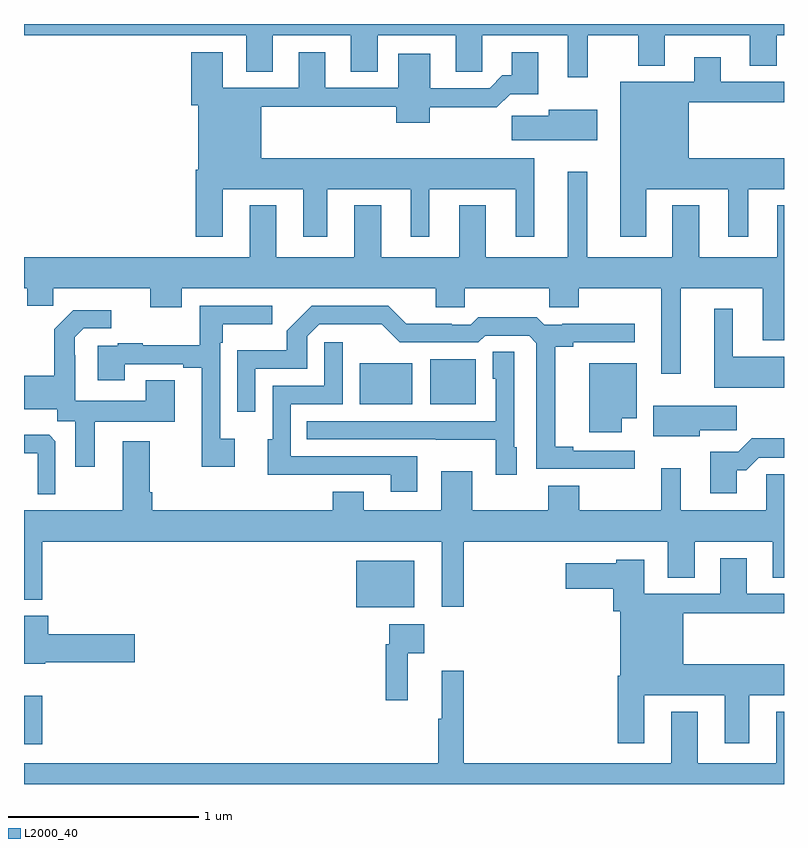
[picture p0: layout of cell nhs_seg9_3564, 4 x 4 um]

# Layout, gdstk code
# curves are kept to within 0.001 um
import gdstk
lib = gdstk.Library(unit=1e-6, precision=1e-09)
def R(c, l, rs):  # rectangles x0, y0, x1, y1
    for r in rs: c.add(gdstk.rectangle(r[:2], r[2:], *l))
def P(c, l, *ps):  # polygons
    for p in ps: c.add(gdstk.Polygon(p, *l))
L2000_40 = (2000, 40)

nhs_seg9_3564 = lib.new_cell('nhs_seg9_3564')
R(nhs_seg9_3564, L2000_40, [(315,1172.708,315.097,1172.965), (316.748,1173.431,317.053,1173.676), (316.766,1174.499,317.044,1174.714), (317.138,1174.499,317.377,1174.735)])
P(nhs_seg9_3564, L2000_40, [(317.968,1176.44),(318.233,1176.44),(318.233,1176.281),(318.373,1176.281),(318.373,1176.44),(318.821,1176.44),(318.821,1176.28),(318.961,1176.28),(318.961,1176.44),(319,1176.44),(319,1176.5),(315,1176.5),(315,1176.44),(316.169,1176.44),(316.169,1176.25),(316.309,1176.25),(316.309,1176.44),(316.721,1176.44),(316.721,1176.25),(316.861,1176.25),(316.861,1176.44),(317.273,1176.44),(317.273,1176.25),(317.412,1176.25),(317.412,1176.44),(317.861,1176.44),(317.861,1176.219),(317.968,1176.219)],
  [(316.045,1175.63),(316.469,1175.63),(316.469,1175.379),(316.597,1175.379),(316.597,1175.63),(317.036,1175.63),(317.036,1175.379),(317.134,1175.379),(317.134,1175.63),(317.588,1175.63),(317.588,1175.379),(317.686,1175.379),(317.686,1175.794),(316.249,1175.794),(316.249,1176.064),(316.958,1176.064),(316.958,1175.981),(317.136,1175.981),(317.136,1176.062),(317.489,1176.062),(317.558,1176.131),(317.707,1176.131),(317.707,1176.352),(317.567,1176.352),(317.567,1176.229),(317.518,1176.229),(317.451,1176.162),(317.137,1176.162),(317.137,1176.343),(316.97,1176.343),(316.97,1176.165),(316.585,1176.165),(316.585,1176.352),(316.445,1176.352),(316.445,1176.165),(316.045,1176.165),(316.045,1176.352),(315.881,1176.352),(315.881,1176.072),(315.917,1176.072),(315.917,1175.734),(315.905,1175.734),(315.905,1175.379),(316.045,1175.379)],
  [(318.274,1175.63),(318.707,1175.63),(318.707,1175.379),(318.811,1175.379),(318.811,1175.63),(319,1175.63),(319,1175.794),(318.499,1175.794),(318.499,1176.087),(319,1176.087),(319,1176.195),(318.667,1176.195),(318.667,1176.325),(318.527,1176.325),(318.527,1176.196),(318.137,1176.196),(318.137,1175.379),(318.274,1175.379)],
  [(318.016,1176.049),(317.762,1176.049),(317.762,1176.017),(317.568,1176.017),(317.568,1175.888),(318.016,1175.888)],
  [(316.879,1175.545),(316.739,1175.545),(316.739,1175.272),(316.327,1175.272),(316.327,1175.545),(316.187,1175.545),(316.187,1175.272),(315,1175.272),(315,1175.108),(315.017,1175.108),(315.017,1175.018),(315.155,1175.018),(315.155,1175.108),(315.665,1175.108),(315.665,1175.009),(315.829,1175.009),(315.829,1175.108),(317.168,1175.108),(317.168,1175.01),(317.319,1175.01),(317.319,1175.108),(317.764,1175.108),(317.764,1175.01),(317.919,1175.01),(317.919,1175.108),(318.353,1175.108),(318.353,1174.659),(318.457,1174.659),(318.457,1175.108),(318.887,1175.108),(318.887,1174.835),(319,1174.835),(319,1175.545),(318.965,1175.545),(318.965,1175.272),(318.553,1175.272),(318.553,1175.545),(318.413,1175.545),(318.413,1175.272),(317.965,1175.272),(317.965,1175.722),(317.861,1175.722),(317.861,1175.272),(317.431,1175.272),(317.431,1175.545),(317.291,1175.545),(317.291,1175.272),(316.879,1175.272)],
  [(318.214,1174.254),(317.89,1174.254),(317.89,1174.274),(317.795,1174.274),(317.795,1174.802),(317.89,1174.802),(317.89,1174.824),(318.214,1174.824),(318.214,1174.922),(317.833,1174.922),(317.833,1174.917),(317.739,1174.917),(317.699,1174.957),(317.392,1174.957),(317.352,1174.917),(317.252,1174.917),(317.252,1174.922),(317.012,1174.922),(316.917,1175.016),(316.514,1175.016),(316.384,1174.886),(316.384,1174.783),(316.122,1174.783),(316.122,1174.458),(316.218,1174.458),(316.218,1174.686),(316.491,1174.686),(316.491,1174.857),(316.554,1174.92),(316.883,1174.919),(316.977,1174.824),(317.391,1174.824),(317.427,1174.86),(317.658,1174.86),(317.697,1174.821),(317.697,1174.158),(318.214,1174.158)],
  [(316.108,1174.318),(316.032,1174.318),(316.032,1174.823),(316.045,1174.823),(316.045,1174.919),(316.306,1174.919),(316.306,1175.016),(315.924,1175.016),(315.924,1174.808),(315.625,1174.808),(315.625,1174.819),(315.493,1174.819),(315.493,1174.806),(315.389,1174.806),(315.389,1174.626),(315.529,1174.626),(315.529,1174.71),(315.839,1174.71),(315.839,1174.692),(315.935,1174.692),(315.935,1174.17),(316.108,1174.17)],
  [(319,1174.75),(318.73,1174.75),(318.73,1175.002),(318.632,1175.002),(318.632,1174.586),(319,1174.586)],
  [(315.373,1174.406),(315.793,1174.406),(315.793,1174.625),(315.641,1174.625),(315.641,1174.516),(315.27,1174.516),(315.27,1174.757),(315.268,1174.757),(315.268,1174.852),(315.315,1174.899),(315.46,1174.899),(315.46,1174.993),(315.259,1174.993),(315.159,1174.893),(315.159,1174.648),(315,1174.648),(315,1174.472),(315.174,1174.472),(315.174,1174.408),(315.269,1174.408),(315.269,1174.17),(315.373,1174.17)],
  [(317.071,1174.224),(316.404,1174.224),(316.404,1174.5),(316.677,1174.5),(316.677,1174.825),(316.581,1174.825),(316.581,1174.596),(316.308,1174.596),(316.308,1174.314),(316.283,1174.314),(316.283,1174.127),(316.501,1174.127),(316.501,1174.128),(316.931,1174.128),(316.931,1174.038),(317.071,1174.038)],
  [(317.593,1174.272),(317.58,1174.272),(317.58,1174.775),(317.468,1174.775),(317.468,1174.632),(317.484,1174.632),(317.484,1174.41),(316.489,1174.41),(316.489,1174.314),(317.167,1174.314),(317.167,1174.313),(317.484,1174.313),(317.484,1174.128),(317.593,1174.128)],
  [(318.145,1174.424),(318.226,1174.424),(318.226,1174.714),(317.975,1174.714),(317.975,1174.352),(318.145,1174.352)],
  [(318.556,1174.363),(318.751,1174.363),(318.751,1174.492),(318.312,1174.492),(318.312,1174.331),(318.556,1174.331)],
  [(315.165,1174.305),(315.133,1174.337),(315,1174.337),(315,1174.242),(315.072,1174.242),(315.072,1174.025),(315.165,1174.025)],
  [(318.751,1174.151),(318.8,1174.151),(318.867,1174.218),(319,1174.218),(319,1174.319),(318.83,1174.319),(318.76,1174.249),(318.611,1174.249),(318.611,1174.029),(318.751,1174.029)],
  [(317.315,1173.776),(318.389,1173.776),(318.389,1173.586),(318.529,1173.586),(318.529,1173.776),(318.941,1173.776),(318.941,1173.586),(319,1173.586),(319,1174.13),(318.906,1174.13),(318.906,1173.94),(318.457,1173.94),(318.457,1174.162),(318.353,1174.162),(318.353,1173.94),(317.923,1173.94),(317.923,1174.069),(317.759,1174.069),(317.759,1173.94),(317.359,1173.94),(317.359,1174.147),(317.195,1174.147),(317.195,1173.94),(316.789,1173.94),(316.789,1174.039),(316.625,1174.039),(316.625,1173.94),(315.674,1173.94),(315.674,1174.036),(315.661,1174.036),(315.661,1174.303),(315.521,1174.303),(315.521,1173.94),(315,1173.94),(315,1173.47),(315.095,1173.47),(315.095,1173.776),(317.198,1173.776),(317.198,1173.432),(317.315,1173.432)],
  [(318.265,1172.966),(318.689,1172.966),(318.689,1172.715),(318.817,1172.715),(318.817,1172.966),(319,1172.966),(319,1173.13),(318.469,1173.13),(318.469,1173.4),(319,1173.4),(319,1173.501),(318.805,1173.501),(318.805,1173.688),(318.665,1173.688),(318.665,1173.501),(318.265,1173.501),(318.265,1173.679),(318.117,1173.679),(318.117,1173.661),(317.85,1173.661),(317.85,1173.527),(318.101,1173.527),(318.101,1173.408),(318.137,1173.408),(318.137,1173.07),(318.125,1173.07),(318.125,1172.715),(318.265,1172.715)],
  [(315.111,1173.14),(315.583,1173.14),(315.583,1173.287),(315.128,1173.287),(315.128,1173.385),(315,1173.385),(315,1173.134),(315.111,1173.134)],
  [(317.021,1173.188),(317.107,1173.188),(317.107,1173.34),(316.923,1173.34),(316.923,1173.236),(316.903,1173.236),(316.903,1172.94),(317.021,1172.94)],
  [(319,1172.881),(318.959,1172.881),(318.959,1172.608),(318.547,1172.608),(318.547,1172.881),(318.407,1172.881),(318.407,1172.608),(317.315,1172.608),(317.315,1173.097),(317.198,1173.097),(317.198,1172.844),(317.179,1172.844),(317.179,1172.608),(315,1172.608),(315,1172.5),(319,1172.5)])

lib.write_gds('nhs_seg9_3564.gds')
